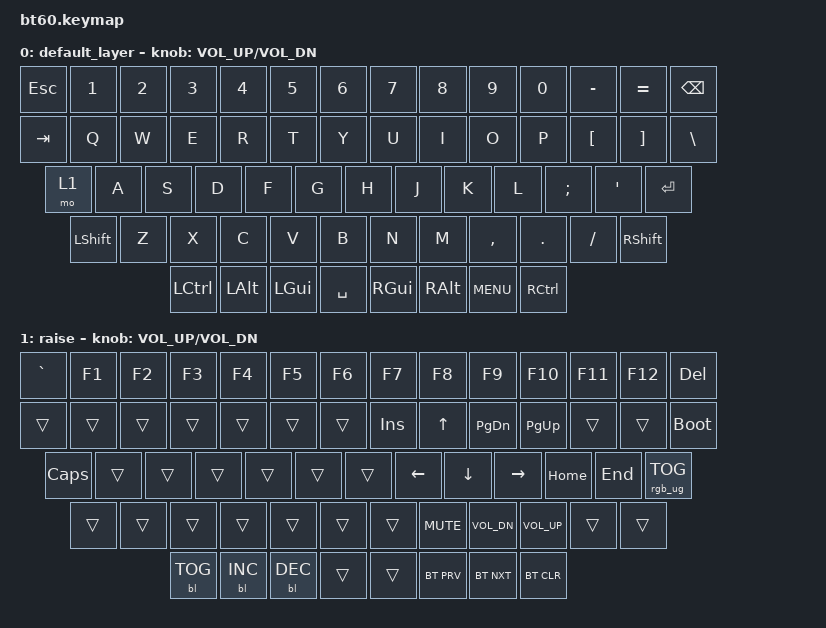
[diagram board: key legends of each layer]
#include <behaviors.dtsi>
#include <dt-bindings/zmk/keys.h>
#include <dt-bindings/zmk/bt.h>
#include <dt-bindings/zmk/rgb.h>
#include <dt-bindings/zmk/backlight.h>
/ {
	keymap {
		compatible = "zmk,keymap";
		default_layer {
				// ------------------------------------------------------------------------------------------
				// |  `  |  1  |  2  |  3  |  4  |  5  |  6  |  7  |  8  |  9  |  0  |  -  |  =  |   BKSP
				// | TAB  |  Q  |  W  |  E  |  R  |  T  |  Y  |  U  |  I  |  O  |  P  |  [  |  ]  |   |
				// | CAPS  |  A  |  S  |  D  |  F  |  G  |  H  |  J  |  K  |  L  |  ;  |  '  |     ENTER
				// |  SHIFT    |  Z  |  X  |  C  |  V  |  B  |  N  |  M  |  ,  |  .  | /   |      SHIFT
				// |  CTL  |  WIN  |  ALT  |            SPACE               | ALT | 1    |  MENU    |  CTRL
				// ------------------------------------------------------------------------------------------
			bindings = <

				&kp ESC &kp N1 &kp N2 &kp N3 &kp N4 &kp N5 &kp N6 &kp N7 &kp  N8   &kp  N9 &kp  N0  &kp MINUS &kp EQUAL &kp BSPC
				&kp TAB  &kp Q  &kp W  &kp E  &kp R  &kp T  &kp Y  &kp U  &kp  I    &kp  O  &kp  P   &kp LBKT &kp RBKT   &kp BSLH
				&mo 1     &kp A  &kp S  &kp D  &kp F  &kp G  &kp H  &kp J  &kp  K    &kp  L  &kp SEMI &kp SQT            &kp RET
				&kp LSHFT  &kp Z  &kp X  &kp C  &kp V  &kp B  &kp N  &kp M  &kp COMMA &kp DOT &kp FSLH                   &kp RSHFT
				&kp LCTRL &kp LALT &kp LGUI           &kp SPACE                          &kp RGUI &kp RALT &kp C_MENU   &kp RCTRL
			>;
			sensor-bindings = <&inc_dec_kp C_VOL_UP C_VOL_DN>;
		};
		raise {
			bindings = <
				&kp GRAVE &kp F1 &kp F2 &kp F3 &kp F4 &kp F5 &kp F6 &kp F7 &kp F8 &kp F9 &kp F10 &kp F11 &kp F12 &kp DEL
				&trans &trans &trans &trans &trans &trans &trans &kp INS &kp UP &kp PG_DN &kp PG_UP &trans &trans &bootloader
				&kp CAPS    &trans &trans &trans &trans &trans &trans &kp LEFT &kp DOWN &kp RIGHT &kp HOME  &kp END   &rgb_ug RGB_TOG
				&trans &trans &trans &trans &trans &trans &trans &kp C_MUTE &kp C_VOL_DN &kp C_VOL_UP &trans  &trans
				&bl BL_TOG &bl BL_INC  &bl BL_DEC              &trans                            &trans   &bt BT_PRV &bt BT_NXT &bt BT_CLR
			>;
			sensor-bindings = <&inc_dec_kp C_VOL_UP C_VOL_DN>;
		};
	};
};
